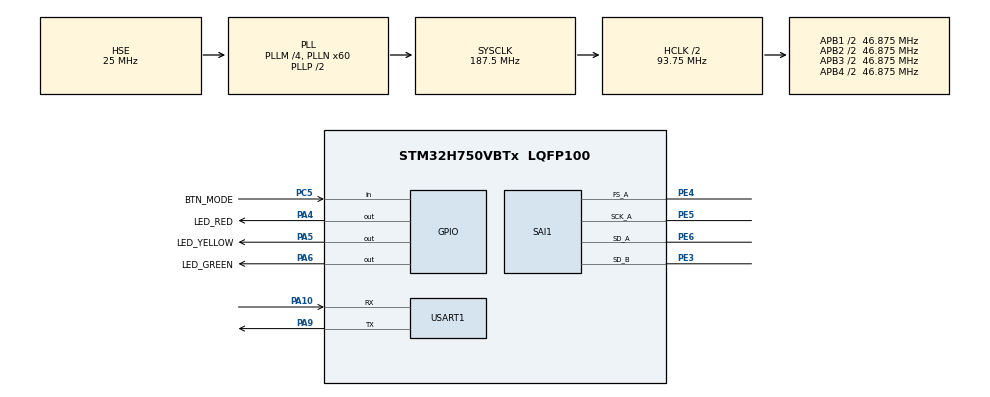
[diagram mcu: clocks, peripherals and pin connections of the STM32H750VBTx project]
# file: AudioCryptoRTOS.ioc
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CORTEX_M7.default_mode_Activation=1
CRYP.Algorithm=CRYP_AES_CTR
Dma.Request0=SAI1_A
Dma.Request1=SAI1_B
Dma.SAI1_A.0.Direction=DMA_MEMORY_TO_PERIPH
Dma.SAI1_A.0.EventEnable=DISABLE
Dma.SAI1_A.0.FIFOMode=DMA_FIFOMODE_DISABLE
Dma.SAI1_A.0.Instance=DMA1_Stream0
Dma.SAI1_A.0.MemDataAlignment=DMA_MDATAALIGN_WORD
Dma.SAI1_A.0.MemInc=DMA_MINC_ENABLE
Dma.SAI1_A.0.Mode=DMA_CIRCULAR
Dma.SAI1_A.0.PeriphDataAlignment=DMA_PDATAALIGN_WORD
Dma.SAI1_A.0.PeriphInc=DMA_PINC_DISABLE
Dma.SAI1_A.0.Polarity=HAL_DMAMUX_REQ_GEN_RISING
Dma.SAI1_A.0.Priority=DMA_PRIORITY_HIGH
Dma.SAI1_A.0.RequestNumber=1
Dma.SAI1_A.0.SignalID=NONE
Dma.SAI1_A.0.SyncEnable=DISABLE
Dma.SAI1_A.0.SyncPolarity=HAL_DMAMUX_SYNC_NO_EVENT
Dma.SAI1_A.0.SyncRequestNumber=1
Dma.SAI1_A.0.SyncSignalID=NONE
Dma.SAI1_B.1.Direction=DMA_PERIPH_TO_MEMORY
Dma.SAI1_B.1.EventEnable=DISABLE
Dma.SAI1_B.1.FIFOMode=DMA_FIFOMODE_DISABLE
Dma.SAI1_B.1.Instance=DMA1_Stream1
Dma.SAI1_B.1.MemDataAlignment=DMA_MDATAALIGN_WORD
Dma.SAI1_B.1.MemInc=DMA_MINC_ENABLE
Dma.SAI1_B.1.Mode=DMA_CIRCULAR
Dma.SAI1_B.1.PeriphDataAlignment=DMA_PDATAALIGN_WORD
Dma.SAI1_B.1.PeriphInc=DMA_PINC_DISABLE
Dma.SAI1_B.1.Polarity=HAL_DMAMUX_REQ_GEN_RISING
Dma.SAI1_B.1.Priority=DMA_PRIORITY_VERY_HIGH
Dma.SAI1_B.1.RequestNumber=1
Dma.SAI1_B.1.SignalID=NONE
Dma.SAI1_B.1.SyncEnable=DISABLE
Dma.SAI1_B.1.SyncPolarity=HAL_DMAMUX_SYNC_NO_EVENT
Dma.SAI1_B.1.SyncRequestNumber=1
Dma.SAI1_B.1.SyncSignalID=NONE
FREERTOS.BinarySemaphores01=audioSemaphore,Dynamic,NULL,Available
FREERTOS.Mutexes01=audioMutex,Dynamic,NULL,Available
FREERTOS.Queues01=audioQueue,16,uint16_t,0,Dynamic,NULL,NULL
FREERTOS.Tasks01=StatsTask,8,256,StartStatsTask,Default,NULL,Dynamic,NULL,NULL;AudioProcessTas,40,512,StartAudioProcessTask,Default,NULL,Dynamic,NULL,NULL;ButtonTask,24,256,StartButtonTask,Default,NULL,Dynamic,NULL,NULL
FREERTOS.configENABLE_FPU=1
FREERTOS.configMINIMAL_STACK_SIZE=256
FREERTOS.configTOTAL_HEAP_SIZE=61440
FREERTOS.configUSE_NEWLIB_REENTRANT=1
Mcu.Family=STM32H7
Mcu.Name=STM32H750VBTx
Mcu.Package=LQFP100
NVIC.DMA1_Stream0_IRQn=true\:5\:0\:false\:false\:true\:true\:false\:true\:true
NVIC.DMA1_Stream1_IRQn=true\:5\:0\:false\:false\:true\:true\:false\:true\:true
NVIC.PriorityGroup=NVIC_PRIORITYGROUP_4
NVIC.SAI1_IRQn=true\:5\:0\:false\:false\:true\:true\:true\:true\:true
NVIC.TIM6_DAC_IRQn=true\:15\:0\:false\:false\:true\:false\:false\:true\:true
NVIC.TimeBase=TIM6_DAC_IRQn
NVIC.TimeBaseIP=TIM6
PA10.Mode=Asynchronous
PA10.Signal=USART1_RX
PA4.GPIO_Label=LED_RED
PA4.Signal=GPIO_Output
PA5.GPIO_Label=LED_YELLOW
PA5.Signal=GPIO_Output
PA6.GPIO_Label=LED_GREEN
PA6.Signal=GPIO_Output
PA9.Mode=Asynchronous
PA9.Signal=USART1_TX
PC5.GPIO_Label=BTN_MODE
PC5.GPIO_PuPd=GPIO_PULLUP
PC5.Signal=GPIO_Input
PE3.Mode=SAI_B_SyncSlave
PE3.Signal=SAI1_SD_B
PE4.Mode=SAI_A_Master
PE4.Signal=SAI1_FS_A
PE5.Mode=SAI_A_Master
PE5.Signal=SAI1_SCK_A
PE6.Mode=SAI_A_Master
PE6.Signal=SAI1_SD_A
PH0-OSC_IN\ (PH0).Mode=HSE-External-Oscillator
PH0-OSC_IN\ (PH0).Signal=RCC_OSC_IN
PH1-OSC_OUT\ (PH1).Mode=HSE-External-Oscillator
PH1-OSC_OUT\ (PH1).Signal=RCC_OSC_OUT
ProjectManager.HeapSize=0x1000
ProjectManager.StackSize=0x1000
ProjectManager.TargetToolchain=STM32CubeIDE
RCC.ADCFreq_Value=50390625
RCC.APB1Freq_Value=46875000
RCC.APB2Freq_Value=46875000
RCC.APB3Freq_Value=46875000
RCC.APB4Freq_Value=46875000
RCC.CortexFreq_Value=187500000
RCC.D1PPRE=RCC_APB3_DIV2
RCC.D2PPRE1=RCC_APB1_DIV2
RCC.D2PPRE2=RCC_APB2_DIV2
RCC.D3PPRE=RCC_APB4_DIV2
RCC.DIVM1=4
RCC.DIVM3=5
RCC.DIVN1=60
RCC.DIVN3=49
RCC.DIVP3=20
RCC.DIVQ1=7
RCC.HCLKFreq_Value=93750000
RCC.HPRE=RCC_HCLK_DIV2
RCC.PLL2FRACN=0
RCC.PLL3FRACN=1245
RCC.PLLFRACN=0
RCC.PLLSourceVirtual=RCC_PLLSOURCE_HSE
RCC.SAI1CLockSelection=RCC_SAI1CLKSOURCE_PLL3
RCC.SYSCLKFreq_VALUE=187500000
RCC.SYSCLKSource=RCC_SYSCLKSOURCE_PLLCLK
RCC.USBFreq_Value=53571428.571428575
SAI1.AudioFrequency-SAI_A_Master=SAI_AUDIO_FREQUENCY_48K
SAI1.BasicDataSize-SAI_A_Master=SAI_PROTOCOL_DATASIZE_24BIT
SAI1.BasicDataSize-SAI_B_SyncSlave=SAI_PROTOCOL_DATASIZE_24BIT
SAI1.ErrorAudioFreq-SAI_A_Master=0.0 %
SAI1.InitProtocol-SAI_A_Master=Enable
SAI1.InitProtocol-SAI_B_SyncSlave=Enable
SAI1.Instance-SAI_A_Master=SAI$Index_Block_A
SAI1.Instance-SAI_B_SyncSlave=SAI$Index_Block_B
SAI1.MClockEnable=SAI_MASTERCLOCK_DISABLE
SAI1.OutputDrive-SAI_A_Master=SAI_OUTPUTDRIVE_DISABLE
SAI1.RealAudioFreq-SAI_A_Master=47.999 KHz
SAI1.VirtualMode-SAI_A_Master=VM_MASTER
SAI1.VirtualMode-SAI_B_SyncSlave=VM_SLAVE
SAI1.VirtualProtocol-SAI_A_BASIC=VM_BASIC_PROTOCOL
SAI1.VirtualProtocol-SAI_B_BASIC=VM_BASIC_PROTOCOL
USART1.VirtualMode-Asynchronous=VM_ASYNC
VP_CRYP_VS_CRYP.Mode=CRYP_Activate
VP_FREERTOS_VS_CMSIS_V2.Mode=CMSIS_V2
VP_MEMORYMAP_VS_MEMORYMAP.Mode=CurAppReg
VP_SAI1_VP_$IpInstance_SAIA_SAI_BASIC.Mode=SAI_A_BASIC
VP_SAI1_VP_$IpInstance_SAIB_SAI_BASIC.Mode=SAI_B_BASIC
VP_SYS_VS_tim6.Mode=TIM6
board=custom

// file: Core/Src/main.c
/* USER CODE BEGIN Header */
/**
  ******************************************************************************
  * @file           : main.c
  * @brief          : Main program body
  ******************************************************************************
  * @attention
  *
  * Copyright (c) 2025 STMicroelectronics.
  * All rights reserved.
  *
  * This software is licensed under terms that can be found in the LICENSE file
  * in the root directory of this software component.
  * If no LICENSE file comes with this software, it is provided AS-IS.
  *
  ******************************************************************************
  */
/* USER CODE END Header */
#include "main.h"
#include "cmsis_os.h"
#include "cryp.h"
#include "dma.h"
#include "sai.h"
#include "usart.h"
#include "gpio.h"

/* USER CODE BEGIN Includes */

#include "audio_crypto_rtos.h"
#include <stdio.h>

/* USER CODE END Includes */

void SystemClock_Config(void);
void PeriphCommonClock_Config(void);
static void MPU_Config(void);
void MX_FREERTOS_Init(void);

/* USER CODE BEGIN 0 */

/* Printf redirect to UART */
int __io_putchar(int ch)
{
  HAL_UART_Transmit(&huart1, (uint8_t*)&ch, 1, HAL_MAX_DELAY);
  return ch;
}

int _write(int file, char *ptr, int len)
{
  HAL_UART_Transmit(&huart1, (uint8_t*)ptr, len, HAL_MAX_DELAY);
  return len;
}

/* USER CODE END 0 */

int main(void)
{

  /* MPU Configuration--------------------------------------------------------*/
  MPU_Config();

  /* MCU Configuration--------------------------------------------------------*/

  /* Reset of all peripherals, Initializes the Flash interface and the Systick. */
  HAL_Init();

  /* Configure the system clock */
  SystemClock_Config();

  /* Configure the peripherals common clocks */
  PeriphCommonClock_Config();

  /* Initialize all configured peripherals */
  MX_GPIO_Init();
  MX_DMA_Init();
  MX_SAI1_Init();
  MX_USART1_UART_Init();
  MX_CRYP_Init();
  /* USER CODE BEGIN 2 */

  printf("\r\n========================================\r\n");
  printf("  STM32H750 Audio Encryption System\r\n");
  printf("  with FreeRTOS\r\n");
  printf("========================================\r\n");
  printf("MCU: STM32H750VBT6 @ 480MHz\r\n");
  printf("Sample Rate: 48 kHz\r\n");
  printf("Bit Depth: 24-bit Stereo\r\n");
  printf("Encryption: AES-128-CTR (Hardware)\r\n");
  printf("\r\n[INFO] FreeRTOS Starting...\r\n\r\n");

  /* USER CODE END 2 */

  /* Init scheduler */
  osKernelInitialize();  /* Call init function for freertos objects (in cmsis_os2.c) */
  MX_FREERTOS_Init();

  /* Start scheduler */
  osKernelStart();

  /* We should never get here as control is now taken by the scheduler */

  /* Infinite loop */
  while (1)
  {

  }
}

void SystemClock_Config(void)
{
  RCC_OscInitTypeDef RCC_OscInitStruct = {0};
  RCC_ClkInitTypeDef RCC_ClkInitStruct = {0};

  /** Supply configuration update enable
  */
  HAL_PWREx_ConfigSupply(PWR_LDO_SUPPLY);

  /** Configure the main internal regulator output voltage
  */
  __HAL_PWR_VOLTAGESCALING_CONFIG(PWR_REGULATOR_VOLTAGE_SCALE3);

  while(!__HAL_PWR_GET_FLAG(PWR_FLAG_VOSRDY)) {}

  /** Initializes the RCC Oscillators according to the specified parameters
  * in the RCC_OscInitTypeDef structure.
  */
  RCC_OscInitStruct.OscillatorType = RCC_OSCILLATORTYPE_HSE;
  RCC_OscInitStruct.HSEState = RCC_HSE_ON;
  RCC_OscInitStruct.PLL.PLLState = RCC_PLL_ON;
  RCC_OscInitStruct.PLL.PLLSource = RCC_PLLSOURCE_HSE;
  RCC_OscInitStruct.PLL.PLLM = 4;
  RCC_OscInitStruct.PLL.PLLN = 60;
  RCC_OscInitStruct.PLL.PLLP = 2;
  RCC_OscInitStruct.PLL.PLLQ = 7;
  RCC_OscInitStruct.PLL.PLLR = 2;
  RCC_OscInitStruct.PLL.PLLRGE = RCC_PLL1VCIRANGE_2;
  RCC_OscInitStruct.PLL.PLLVCOSEL = RCC_PLL1VCOWIDE;
  RCC_OscInitStruct.PLL.PLLFRACN = 0;
  if (HAL_RCC_OscConfig(&RCC_OscInitStruct) != HAL_OK)
  {
    Error_Handler();
  }

  /** Initializes the CPU, AHB and APB buses clocks
  */
  RCC_ClkInitStruct.ClockType = RCC_CLOCKTYPE_HCLK|RCC_CLOCKTYPE_SYSCLK
                              |RCC_CLOCKTYPE_PCLK1|RCC_CLOCKTYPE_PCLK2
                              |RCC_CLOCKTYPE_D3PCLK1|RCC_CLOCKTYPE_D1PCLK1;
  RCC_ClkInitStruct.SYSCLKSource = RCC_SYSCLKSOURCE_PLLCLK;
  RCC_ClkInitStruct.SYSCLKDivider = RCC_SYSCLK_DIV1;
  RCC_ClkInitStruct.AHBCLKDivider = RCC_HCLK_DIV2;
  RCC_ClkInitStruct.APB3CLKDivider = RCC_APB3_DIV2;
  RCC_ClkInitStruct.APB1CLKDivider = RCC_APB1_DIV2;
  RCC_ClkInitStruct.APB2CLKDivider = RCC_APB2_DIV2;
  RCC_ClkInitStruct.APB4CLKDivider = RCC_APB4_DIV2;

  if (HAL_RCC_ClockConfig(&RCC_ClkInitStruct, FLASH_LATENCY_2) != HAL_OK)
  {
    Error_Handler();
  }
}

void PeriphCommonClock_Config(void)
{
  RCC_PeriphCLKInitTypeDef PeriphClkInitStruct = {0};

  /** Initializes the peripherals clock
  */
  PeriphClkInitStruct.PeriphClockSelection = RCC_PERIPHCLK_SAI1;
  PeriphClkInitStruct.PLL3.PLL3M = 5;
  PeriphClkInitStruct.PLL3.PLL3N = 49;
  PeriphClkInitStruct.PLL3.PLL3P = 20;
  PeriphClkInitStruct.PLL3.PLL3Q = 2;
  PeriphClkInitStruct.PLL3.PLL3R = 2;
  PeriphClkInitStruct.PLL3.PLL3RGE = RCC_PLL3VCIRANGE_2;
  PeriphClkInitStruct.PLL3.PLL3VCOSEL = RCC_PLL3VCOWIDE;
  PeriphClkInitStruct.PLL3.PLL3FRACN = 1245;
  PeriphClkInitStruct.Sai1ClockSelection = RCC_SAI1CLKSOURCE_PLL3;
  if (HAL_RCCEx_PeriphCLKConfig(&PeriphClkInitStruct) != HAL_OK)
  {
    Error_Handler();
  }
}

/* USER CODE BEGIN 4 */

/**
 * @brief SAI RX Half Complete Callback
 * @note Called when first half of RX buffer is filled
 */
void HAL_SAI_RxHalfCpltCallback(SAI_HandleTypeDef *hsai)
{
  if (hsai->Instance == SAI1_Block_B) {
    AudioCrypto_RxHalfCpltCallback();
  }
}

/**
 * @brief SAI RX Complete Callback
 * @note Called when second half of RX buffer is filled
 */
void HAL_SAI_RxCpltCallback(SAI_HandleTypeDef *hsai)
{
  if (hsai->Instance == SAI1_Block_B) {
    AudioCrypto_RxCpltCallback();
  }
}

/**
 * @brief SAI TX Half Complete Callback
 */
void HAL_SAI_TxHalfCpltCallback(SAI_HandleTypeDef *hsai)
{
  if (hsai->Instance == SAI1_Block_A) {
    AudioCrypto_TxHalfCpltCallback();
  }
}

/**
 * @brief SAI TX Complete Callback
 */
void HAL_SAI_TxCpltCallback(SAI_HandleTypeDef *hsai)
{
  if (hsai->Instance == SAI1_Block_A) {
    AudioCrypto_TxCpltCallback();
  }
}

void MPU_Config(void)
{
  MPU_Region_InitTypeDef MPU_InitStruct = {0};

  /* 1. Matikan MPU sebentar */
  HAL_MPU_Disable();

  /* 2. Konfigurasi Region 0: RAM D2 (Khusus Buffer Audio/DMA) */
  /* Setting ini WAJIB agar suara jernih (tidak kresek) dan aman */

  MPU_InitStruct.Enable = MPU_REGION_ENABLE;
  MPU_InitStruct.Number = MPU_REGION_NUMBER0;
  MPU_InitStruct.BaseAddress = 0x30000000;      // Alamat Awal RAM D2
  MPU_InitStruct.Size = MPU_REGION_SIZE_256KB;  // Ukuran RAM D2
  MPU_InitStruct.SubRegionDisable = 0x0;
  MPU_InitStruct.TypeExtField = MPU_TEX_LEVEL1;
  MPU_InitStruct.AccessPermission = MPU_REGION_FULL_ACCESS;

  /* FITUR KEAMANAN Buffer data tidak boleh dijalankan sebagai program */
  MPU_InitStruct.DisableExec = MPU_INSTRUCTION_ACCESS_DISABLE;

  /* FITUR KESTABILAN Agar DMA dan CPU sinkron */
  MPU_InitStruct.IsShareable = MPU_ACCESS_SHAREABLE;
  MPU_InitStruct.IsCacheable = MPU_ACCESS_NOT_CACHEABLE;
  MPU_InitStruct.IsBufferable = MPU_ACCESS_NOT_BUFFERABLE;

  HAL_MPU_ConfigRegion(&MPU_InitStruct);

  /* 3. Hidupkan MPU dengan Mode Default */
  /* Efek: RAM D1 (Stack/Heap) & Flash tetap Ngebut (Cacheable) secara otomatis */
  HAL_MPU_Enable(MPU_PRIVILEGED_DEFAULT);
}

/* USER CODE END 4 */

void HAL_TIM_PeriodElapsedCallback(TIM_HandleTypeDef *htim)
{
  if (htim->Instance == TIM6)
  {
    HAL_IncTick();
  }
}

void Error_Handler(void)
{
  __disable_irq();
  while (1)
  {
  }
}

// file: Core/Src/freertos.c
/* USER CODE BEGIN Header */
/**
  ******************************************************************************
  * File Name          : freertos.c
  * Description        : Code for freertos applications
  ******************************************************************************
  * @attention
  *
  * Copyright (c) 2025 STMicroelectronics.
  * All rights reserved.
  *
  * This software is licensed under terms that can be found in the LICENSE file
  * in the root directory of this software component.
  * If no LICENSE file comes with this software, it is provided AS-IS.
  *
  ******************************************************************************
  */
/* USER CODE END Header */

#include "FreeRTOS.h"
#include "task.h"
#include "main.h"
#include "cmsis_os.h"

/* USER CODE BEGIN Includes */

#include "audio_crypto_rtos.h"
#include <stdio.h>

/* USER CODE END Includes */

/* USER CODE BEGIN Variables */

/* Peripheral handles (akan di-set dari main.c) */
extern SAI_HandleTypeDef hsai_BlockA1;
extern SAI_HandleTypeDef hsai_BlockB1;
extern CRYP_HandleTypeDef hcryp;

/* Button debounce */
static uint32_t lastButtonTick = 0;
#define BUTTON_DEBOUNCE_MS  200

/* USER CODE END Variables */
/* Definitions for StatsTask */
osThreadId_t StatsTaskHandle;
const osThreadAttr_t StatsTask_attributes = {
    .name = "StatsTask",
    .stack_size = 256 * 4,
    .priority = (osPriority_t)osPriorityLow,
};
/* Definitions for AudioProcessTas */
osThreadId_t AudioProcessTasHandle;
const osThreadAttr_t AudioProcessTas_attributes = {
    .name = "AudioProcessTas",
    .stack_size = 512 * 4,
    .priority = (osPriority_t)osPriorityHigh,
};
/* Definitions for ButtonTask */
osThreadId_t ButtonTaskHandle;
const osThreadAttr_t ButtonTask_attributes = {
    .name = "ButtonTask",
    .stack_size = 256 * 4,
    .priority = (osPriority_t)osPriorityNormal,
};
/* Definitions for audioQueue */
osMessageQueueId_t audioQueueHandle;
const osMessageQueueAttr_t audioQueue_attributes = {
    .name = "audioQueue"
};
/* Definitions for audioMutex */
osMutexId_t audioMutexHandle;
const osMutexAttr_t audioMutex_attributes = {
    .name = "audioMutex"
};
/* Definitions for audioSemaphore */
osSemaphoreId_t audioSemaphoreHandle;
const osSemaphoreAttr_t audioSemaphore_attributes = {
    .name = "audioSemaphore"
};

/* USER CODE BEGIN FunctionPrototypes */

/* Fungsi untuk update LED berdasarkan Mode */
void App_UpdateLEDs(AudioMode_t mode)
{
    /* 1. Matikan semua LED dulu (Reset) */
    HAL_GPIO_WritePin(LED_RED_GPIO_Port, LED_RED_Pin, GPIO_PIN_RESET);
    HAL_GPIO_WritePin(LED_YELLOW_GPIO_Port, LED_YELLOW_Pin, GPIO_PIN_RESET);
    HAL_GPIO_WritePin(LED_GREEN_GPIO_Port, LED_GREEN_Pin, GPIO_PIN_RESET);

    /* 2. Nyalakan salah satu sesuai Mode */
    switch (mode)
    {
    case AUDIO_MODE_BYPASS:
        /* Merah Nyala */
        HAL_GPIO_WritePin(LED_RED_GPIO_Port, LED_RED_Pin, GPIO_PIN_SET);
        break;

    case AUDIO_MODE_ENCRYPT:
        /* Kuning Nyala */
        HAL_GPIO_WritePin(LED_YELLOW_GPIO_Port, LED_YELLOW_Pin, GPIO_PIN_SET);
        break;

    case AUDIO_MODE_ENCRYPT_DECRYPT:
        /* Hijau Nyala */
        HAL_GPIO_WritePin(LED_GREEN_GPIO_Port, LED_GREEN_Pin, GPIO_PIN_SET);
        break;

    default:
        break;
    }
}

/* USER CODE END FunctionPrototypes */

void StartStatsTask(void* argument);
void StartAudioProcessTask(void* argument);
void StartButtonTask(void* argument);

void MX_FREERTOS_Init(void); /* (MISRA C 2004 rule 8.1) */

void MX_FREERTOS_Init(void)
{
    /* Create the mutex(es) */
    /* creation of audioMutex */
    audioMutexHandle = osMutexNew(&audioMutex_attributes);

    /* Create the semaphores(s) */
    /* creation of audioSemaphore */
    audioSemaphoreHandle = osSemaphoreNew(1, 1, &audioSemaphore_attributes);

    /* Create the queue(s) */
    /* creation of audioQueue */
    audioQueueHandle = osMessageQueueNew(16, sizeof(uint16_t), &audioQueue_attributes);

    /* Create the thread(s) */
    /* creation of StatsTask */
    StatsTaskHandle = osThreadNew(StartStatsTask, NULL, &StatsTask_attributes);

    /* creation of AudioProcessTas */
    AudioProcessTasHandle = osThreadNew(StartAudioProcessTask, NULL, &AudioProcessTas_attributes);

    /* creation of ButtonTask */
    ButtonTaskHandle = osThreadNew(StartButtonTask, NULL, &ButtonTask_attributes);

}

void StartStatsTask(void* argument)
{
    /* USER CODE BEGIN StartStatsTask */
    uint32_t processed, encrypted, errors;

    printf("[Task] StatsTask started\r\n");

    /* Infinite loop - print stats every 5 seconds */
    for (;;)
    {
        /* Wait 5 seconds */
        osDelay(5000);

        /* Get statistics */
        AudioCrypto_GetStats(&processed, &encrypted, &errors);

        /* Print stats */
        printf("[STATS] Frames: %lu | Encrypted: %lu | Errors: %lu | Mode: %s\r\n",
               processed, encrypted, errors,
               AudioCrypto_GetModeName(AudioCrypto_GetMode()));
    }
    /* USER CODE END StartStatsTask */
}

void StartAudioProcessTask(void* argument)
{
    /* USER CODE BEGIN StartAudioProcessTask */
    uint32_t bufferHalf;
    osStatus_t status;

    printf("[Task] AudioProcessTask started\r\n");

    /* Wait a bit for system to stabilize */
    osDelay(100);

    /* Initialize Audio Crypto */
    if (AudioCrypto_Init(&hsai_BlockA1, &hsai_BlockB1, &hcryp) != HAL_OK)
    {
        printf("[ERROR] AudioCrypto_Init failed!\r\n");
        /* Suspend this task on error */
        osThreadSuspend(NULL);
    }

    /* Start audio streaming */
    if (AudioCrypto_Start() != HAL_OK)
    {
        printf("[ERROR] AudioCrypto_Start failed!\r\n");
        osThreadSuspend(NULL);
    }

    printf("[Task] Audio streaming started, waiting for DMA callbacks...\r\n");

    /* Infinite loop - wait for queue messages from DMA callbacks */
    for (;;)
    {
        /* Wait for buffer half indicator from queue (blocking) */
        status = osMessageQueueGet(audioQueueHandle, &bufferHalf, NULL, osWaitForever);

        if (status == osOK)
        {
            /* Process the buffer half */
            AudioCrypto_ProcessBuffer((BufferHalf_t)bufferHalf);
        }
    }
    /* USER CODE END StartAudioProcessTask */
}

void StartButtonTask(void* argument)
{
    /* USER CODE BEGIN StartButtonTask */
    static uint8_t lastButtonState = 1; /* Pull-up = idle high */
    uint8_t currentButtonState;
    uint32_t currentTick;

    printf("[Task] ButtonTask started\r\n");

    // Fungsi Button
    App_UpdateLEDs(AUDIO_MODE_BYPASS);

    /* Infinite loop - poll button every 50ms */
    for (;;)
    {
        /* Read button state (PC5) */
        currentButtonState = HAL_GPIO_ReadPin(BTN_MODE_GPIO_Port, BTN_MODE_Pin);

        /* Detect falling edge (button pressed) */
        if (lastButtonState == 1 && currentButtonState == 0)
        {
            currentTick = HAL_GetTick();

            /* Debounce check */
            if (currentTick - lastButtonTick > BUTTON_DEBOUNCE_MS)
            {
                /* Button pressed - change mode */
                AudioCrypto_NextMode();

                /* LED position update */
                App_UpdateLEDs(AudioCrypto_GetMode());

                lastButtonTick = currentTick;
            }
        }

        lastButtonState = currentButtonState;

        /* Polling interval: 50ms */
        osDelay(50);
    }
    /* USER CODE END StartButtonTask */
}
